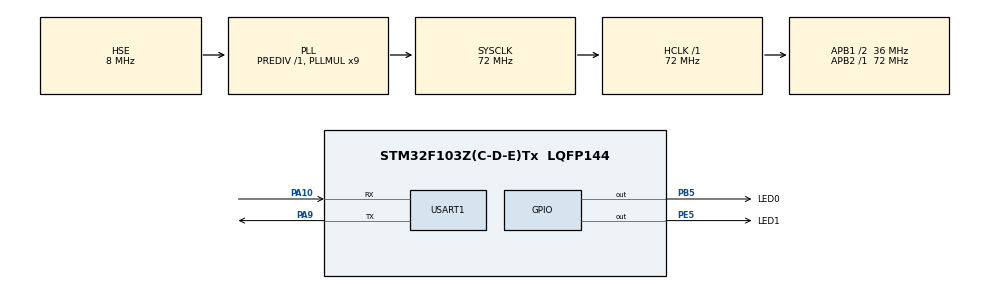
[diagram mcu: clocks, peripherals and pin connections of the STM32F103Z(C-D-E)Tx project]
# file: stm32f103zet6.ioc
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Dma.Request0=USART1_RX
Dma.Request1=USART1_TX
Dma.USART1_RX.0.Direction=DMA_PERIPH_TO_MEMORY
Dma.USART1_RX.0.Instance=DMA1_Channel5
Dma.USART1_RX.0.MemDataAlignment=DMA_MDATAALIGN_BYTE
Dma.USART1_RX.0.MemInc=DMA_MINC_ENABLE
Dma.USART1_RX.0.Mode=DMA_CIRCULAR
Dma.USART1_RX.0.PeriphDataAlignment=DMA_PDATAALIGN_BYTE
Dma.USART1_RX.0.PeriphInc=DMA_PINC_DISABLE
Dma.USART1_RX.0.Priority=DMA_PRIORITY_HIGH
Dma.USART1_TX.1.Direction=DMA_MEMORY_TO_PERIPH
Dma.USART1_TX.1.Instance=DMA1_Channel4
Dma.USART1_TX.1.MemDataAlignment=DMA_MDATAALIGN_BYTE
Dma.USART1_TX.1.MemInc=DMA_MINC_ENABLE
Dma.USART1_TX.1.Mode=DMA_NORMAL
Dma.USART1_TX.1.PeriphDataAlignment=DMA_PDATAALIGN_BYTE
Dma.USART1_TX.1.PeriphInc=DMA_PINC_DISABLE
Dma.USART1_TX.1.Priority=DMA_PRIORITY_MEDIUM
Mcu.Family=STM32F1
Mcu.Name=STM32F103Z(C-D-E)Tx
Mcu.Package=LQFP144
NVIC.DMA1_Channel4_IRQn=true\:0\:0\:false\:false\:true\:false\:true\:true
NVIC.DMA1_Channel5_IRQn=true\:0\:0\:false\:false\:true\:false\:true\:true
NVIC.PriorityGroup=NVIC_PRIORITYGROUP_4
NVIC.USART1_IRQn=true\:1\:0\:true\:false\:true\:true\:true\:true
OSC_IN.Mode=HSE-External-Oscillator
OSC_IN.Signal=RCC_OSC_IN
OSC_OUT.Mode=HSE-External-Oscillator
OSC_OUT.Signal=RCC_OSC_OUT
PA10.Mode=Asynchronous
PA10.Signal=USART1_RX
PA13.Mode=Serial_Wire
PA13.Signal=SYS_JTMS-SWDIO
PA14.Mode=Serial_Wire
PA14.Signal=SYS_JTCK-SWCLK
PA9.Mode=Asynchronous
PA9.Signal=USART1_TX
PB5.GPIO_Label=LED0
PB5.GPIO_ModeDefaultOutputPP=GPIO_MODE_OUTPUT_PP
PB5.GPIO_PuPd=GPIO_PULLDOWN
PB5.GPIO_Speed=GPIO_SPEED_FREQ_MEDIUM
PB5.Signal=GPIO_Output
PE5.GPIO_Label=LED1
PE5.GPIO_PuPd=GPIO_PULLDOWN
PE5.GPIO_Speed=GPIO_SPEED_FREQ_MEDIUM
PE5.Signal=GPIO_Output
ProjectManager.HeapSize=0x200
ProjectManager.StackSize=0x400
ProjectManager.TargetToolchain=MDK-ARM V5.32
RCC.AHBFreq_Value=72000000
RCC.APB1CLKDivider=RCC_HCLK_DIV2
RCC.APB1Freq_Value=36000000
RCC.APB1TimFreq_Value=72000000
RCC.APB2Freq_Value=72000000
RCC.APB2TimFreq_Value=72000000
RCC.HCLKFreq_Value=72000000
RCC.PLLMUL=RCC_PLL_MUL9
RCC.PLLSourceVirtual=RCC_PLLSOURCE_HSE
RCC.SYSCLKFreq_VALUE=72000000
RCC.SYSCLKSource=RCC_SYSCLKSOURCE_PLLCLK
RCC.USBFreq_Value=72000000
USART1.VirtualMode=VM_ASYNC
board=custom

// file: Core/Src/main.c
/* USER CODE BEGIN Header */
/**
  ******************************************************************************
  * @file           : main.c
  * @brief          : Main program body
  ******************************************************************************
  * @attention
  *
  * Copyright (c) 2025 STMicroelectronics.
  * All rights reserved.
  *
  * This software is licensed under terms that can be found in the LICENSE file
  * in the root directory of this software component.
  * If no LICENSE file comes with this software, it is provided AS-IS.
  *
  ******************************************************************************
  */
/* USER CODE END Header */
#include "main.h"
#include "dma.h"
#include "usart.h"
#include "gpio.h"

/* USER CODE BEGIN Includes */
#include "bsp_usart_hal.h"
#include "retarget_rtt.h"
#include "app_jump.h"
#include "soft_crc32.h"
/* USER CODE END Includes */

/* USER CODE BEGIN PTD */

extern DMA_HandleTypeDef hdma_usart1_rx;
extern DMA_HandleTypeDef hdma_usart1_tx;

//! USART1缓存 RX方向
uint8_t gUsart1RXDMABuffer[2048];
uint8_t gUsart1RXRBBuffer[2048];
//! USART1缓存 TX方向
uint8_t gUsart1TXDMABuffer[2048];
uint8_t gUsart1TXRBBuffer[2048];
//! 实例化Usart1
USART_Driver_t gUsart1Drv = {
    .huart = &huart1,
    .hdma_rx = &hdma_usart1_rx,
    .hdma_tx = &hdma_usart1_tx,
};

/* USER CODE END PTD */

/* USER CODE BEGIN PD */

uint32_t gCalc = 0;
uint32_t gStored = 0;

#define FW_TOTAL_LEN 5260U //! 固件的长度，在App编译的log上得到，记得+4

/**
  * @brief  进行固件软件CRC32自检，确保固件完整性
  * @note
  * - 此函数通过软件方式计算固件的CRC32校验码；
  * - 与固件末尾存储的CRC32值进行比较；
  * - 若匹配，打印“校验通过”；否则，打印“校验失败”并显示差异。
  * @retval 无
  */
void CRC_SelfTest_SW(void)
{
    gCalc   = Calculate_Firmware_CRC32_SW(FLASH_DL_START_ADDR, FW_TOTAL_LEN - 4u); //! 最后4个字节是CRC32码，不需要做CRC运算
    gStored = *(uint32_t *)(FLASH_DL_START_ADDR + FW_TOTAL_LEN - 4u);

    SEGGER_RTT_printf(0,
        (gCalc == gStored) ?
        "SW CRC OK  : 0x%08lX\r\n" :
        "SW CRC FAIL: calc=0x%08lX, stored=0x%08lX\r\n",
        gCalc, gStored);
}

/* USER CODE END PD */

void SystemClock_Config(void);

int main(void)
{
  /* USER CODE BEGIN 1 */
  log_printf("Entering the main initialization of the bootloader.\n");
  uint32_t fre = 0;
  /* USER CODE END 1 */

  /* MCU Configuration--------------------------------------------------------*/

  /* Reset of all peripherals, Initializes the Flash interface and the Systick. */
  HAL_Init();

  /* Configure the system clock */
  SystemClock_Config();

  /* Initialize all configured peripherals */
  MX_GPIO_Init();
  MX_DMA_Init();
  MX_USART1_UART_Init();
  /* USER CODE BEGIN 2 */

  //! USART1初始化
  USART_Config(&gUsart1Drv,
               gUsart1RXDMABuffer, gUsart1RXRBBuffer, sizeof(gUsart1RXDMABuffer),
               gUsart1TXDMABuffer, gUsart1TXRBBuffer, sizeof(gUsart1TXDMABuffer));

  log_printf("Bootloader init successfully.\n"); //! bootloader初始化完成
  /* USER CODE END 2 */

  /* Infinite loop */
  while (1)
  {

    /* USER CODE BEGIN 3 */
    //! 开机5S后，跳转App
//    if (fre > 5000) {
//        log_printf("5S Timeout.\n");
//        HAL_Delay(1);
//        IAP_Ready_To_Jump_App(); // 清理MCU环境，准备跳转App
//    }

    //! 30ms
    if (0 == fre % 30) {
        HAL_GPIO_TogglePin(LED0_GPIO_Port,LED0_Pin); //! 心跳灯快闪（在bootlaoder程序里，心跳灯快闪。App程序，心跳灯慢闪。肉眼区分当前跑什么程序）
    }

    if (fre > 1000) {
        if (0 == gCalc) CRC_SelfTest_SW(); //! 开机1S后，执行一次CRC32校验
    }

    //! 2ms
    if (0 == fre % 2) {
        //! 处理已经接收的数据
        //! 连续从ringbuffer里拿出数据来解释，直到没有数据
//        while(USART_Get_The_Existing_Amount_Of_Data(&gUsart1Drv)) {
//            uint8_t data;
//            USART_Take_A_Piece_Of_Data(&gUsart1Drv, &data);
//            // 将data丢给data_process(data)，解析数据
//        }
        USART_Module_Run(&gUsart1Drv); //! Usart1模块运行
    }

    fre++;
    HAL_Delay(1);
  }
  /* USER CODE END 3 */
}

void SystemClock_Config(void)
{
  RCC_OscInitTypeDef RCC_OscInitStruct = {0};
  RCC_ClkInitTypeDef RCC_ClkInitStruct = {0};

  /** Initializes the RCC Oscillators according to the specified parameters
  * in the RCC_OscInitTypeDef structure.
  */
  RCC_OscInitStruct.OscillatorType = RCC_OSCILLATORTYPE_HSE;
  RCC_OscInitStruct.HSEState = RCC_HSE_ON;
  RCC_OscInitStruct.HSEPredivValue = RCC_HSE_PREDIV_DIV1;
  RCC_OscInitStruct.HSIState = RCC_HSI_ON;
  RCC_OscInitStruct.PLL.PLLState = RCC_PLL_ON;
  RCC_OscInitStruct.PLL.PLLSource = RCC_PLLSOURCE_HSE;
  RCC_OscInitStruct.PLL.PLLMUL = RCC_PLL_MUL9;
  if (HAL_RCC_OscConfig(&RCC_OscInitStruct) != HAL_OK)
  {
    Error_Handler();
  }

  /** Initializes the CPU, AHB and APB buses clocks
  */
  RCC_ClkInitStruct.ClockType = RCC_CLOCKTYPE_HCLK|RCC_CLOCKTYPE_SYSCLK
                              |RCC_CLOCKTYPE_PCLK1|RCC_CLOCKTYPE_PCLK2;
  RCC_ClkInitStruct.SYSCLKSource = RCC_SYSCLKSOURCE_PLLCLK;
  RCC_ClkInitStruct.AHBCLKDivider = RCC_SYSCLK_DIV1;
  RCC_ClkInitStruct.APB1CLKDivider = RCC_HCLK_DIV2;
  RCC_ClkInitStruct.APB2CLKDivider = RCC_HCLK_DIV1;

  if (HAL_RCC_ClockConfig(&RCC_ClkInitStruct, FLASH_LATENCY_2) != HAL_OK)
  {
    Error_Handler();
  }
}

void Error_Handler(void)
{
  __disable_irq();
  while (1)
  {
  }
}
